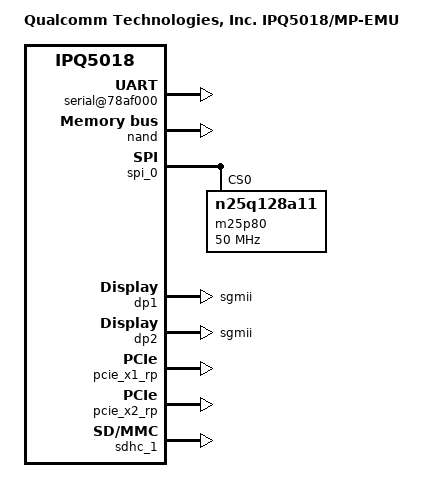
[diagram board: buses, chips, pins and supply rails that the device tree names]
/dts-v1/;
/* Copyright (c) 2018-2020, The Linux Foundation. All rights reserved.
 *
 * Permission to use, copy, modify, and/or distribute this software for any
 * purpose with or without fee is hereby granted, provided that the above
 * copyright notice and this permission notice appear in all copies.
 *
 * THE SOFTWARE IS PROVIDED "AS IS" AND THE AUTHOR DISCLAIMS ALL WARRANTIES
 * WITH REGARD TO THIS SOFTWARE INCLUDING ALL IMPLIED WARRANTIES OF
 * MERCHANTABILITY AND FITNESS. IN NO EVENT SHALL THE AUTHOR BE LIABLE FOR
 * ANY SPECIAL, DIRECT, INDIRECT, OR CONSEQUENTIAL DAMAGES OR ANY DAMAGES
 * WHATSOEVER RESULTING FROM LOSS OF USE, DATA OR PROFITS, WHETHER IN AN
 * ACTION OF CONTRACT, NEGLIGENCE OR OTHER TORTIOUS ACTION, ARISING OUT OF
 * OR IN CONNECTION WITH THE USE OR PERFORMANCE OF THIS SOFTWARE.
 */

#include "qcom-ipq5018.dtsi"

/ {
	#address-cells = <0x2>;
	#size-cells = <0x2>;
	model = "Qualcomm Technologies, Inc. IPQ5018/MP-EMU";
	compatible = "qcom,ipq5018-emulation-c2", "qcom,ipq5018";
	interrupt-parent = <&intc>;

	aliases {
		sdhc1 = &sdhc_1; /* SDC1 eMMC slot */
		serial0 = &blsp1_uart1;
	};

	chosen {
		linux,initrd-end = <0x56000000>;
		linux,initrd-start = <0x54000000>;
		bootargs = "root=/dev/ram0 rw init=/init";
		stdout-path = "serial0";
	};

	soc {
		gcc: gcc@1800000 {
			gcc-use-dummy;
		};

		serial@78af000 {
			status = "ok";
		};

		timer {
			clock-frequency = <240000>;
		};

		qpic_bam: dma@7984000{
			status = "ok";
		};

		nand: qpic-nand@79b0000 {
			status = "ok";
		};

		spi_0: spi@78b5000 { /* BLSP1 QUP0 */
			status = "ok";

			m25p80@0 {
				#address-cells = <1>;
				#size-cells = <1>;
				reg = <0>;
				compatible = "n25q128a11";
				linux,modalias = "m25p80", "n25q128a11";
				spi-max-frequency = <50000000>;
				use-default-sizes;
			};
		};

		ess-instance {
			num_devices = <0x1>;
			ess-switch@0x39c00000 {
				qcom,emulation;
				switch_mac_mode = <0xf>; /* mac mode for uniphy instance*/
				qcom,port_phyinfo {
					port@0 {
						port_id = <1>;
						phy_address = <7>;
		                                forced-speed = <1000>;
                                                forced-duplex = <1>;
					};
					port@1 {
						port_id = <2>;
						phy_address = <1>;
						forced-speed = <1000>;
                                                forced-duplex = <1>;
					};
				};
			};
		};

		wifi0: wifi@c000000 {
			status = "disabled";
		};

		pcie_x1: pci@80000000 {
			is_emulation = <1>;
		};

		pcie_x2: pci@a0000000 {
			is_emulation = <1>;
		};

		nss0: nss@40000000 {
			qcom,low-frequency = <10000000>;
			qcom,mid-frequency = <10000000>;
			qcom,max-frequency = <10000000>;
		};

		dp1 {
			device_type = "network";
			compatible = "qcom,nss-dp";
			qcom,id = <1>;
			reg = <0x39C00000 0x10000>;
			interrupts = <GIC_SPI 101 IRQ_TYPE_LEVEL_HIGH>;
			qcom,mactype = <2>;
			local-mac-address = [000000000000];
			phy-mode = "sgmii";
		};

		dp2 {
			device_type = "network";
			compatible = "qcom,nss-dp";
			qcom,id = <2>;
			reg = <0x39D00000 0x10000>;
			interrupts = <GIC_SPI 109 IRQ_TYPE_LEVEL_HIGH>;
			qcom,mactype = <2>;
			local-mac-address = [000000000000];
			phy-mode = "sgmii";
		};

		qcom,test@0 {
			status = "ok";
		};

		pcie_x1_rp {
		        status = "ok";

			mhi_0: qcom,mhi@0 {
				reg = <0 0 0 0 0 >;
				qrtr_instance_id = <0x8001>;
			};
		};

		pcie_x2_rp {
		        status = "ok";

			mhi_1: qcom,mhi@1 {
				reg = <0 0 0 0 0 >;
				qrtr_instance_id = <0x8002>;
			};
		};
	};
};

&sdhc_1 {
	qcom,clk-rates = <400000 25000000 50000000 100000000 \
			 192000000 384000000>;
	qcom,bus-speed-mode = "DDR_1p8v";
	qcom,nonremovable;
	qcom,emulation = <1>;
	status = "ok";
};

&tlmm {
	pinctrl-0 = <&uart_pins>, <&pcie_x1_pins>, <&pcie_x2_pins>;
	pinctrl-names = "default";

	uart_pins: uart_pins {
		mux_0 {
			pins = "gpio20", "gpio21";
			function = "blsp0_uart0";
			bias-pull-down;
		};
		mux_1 {
			pins = "gpio10";
			function = "blsp1_uart0";
			bias-pull-down;
                };
		mux_2 {
			pins = "gpio11", "gpio12";
			function = "blsp1_uart0";
			bias-pull-down;
                };
		mux_3 {
			pins = "gpio13";
			function = "blsp1_uart0";
			bias-pull-down;
		};
	};

	pcie_x1_pins: pcie_x1_pins {
		mux_0 {
			pins = "gpio14";
			function = "gpio";
			output-low;
			bias-pull-down;
			drive-strength = <2>;
		};

		mux_1 {
			pins = "gpio15";
			function = "gpio";
			output-low;
			bias-pull-down;
			drive-strength = <2>;
		};

		mux_2 {
			pins = "gpio16";
			function = "gpio";
			input;
		};
	};

	pcie_x2_pins: pcie_x2_pins {
		mux_0 {
			pins = "gpio17";
			function = "gpio";
			output-low;
			bias-pull-down;
			drive-strength = <2>;
		};

		mux_1 {
			pins = "gpio18";
			function = "gpio";
			output-low;
			bias-pull-down;
			drive-strength = <2>;
		};

		mux_2 {
			pins = "gpio19";
			function = "gpio";
			input;
		};
	};
};

&tmc_etr {
	memory_region = <>;
	status = "disabled";
};

&dwc_0 {
	/delete-property/ snps,quirk-ref-clock-adjustment;
	snps,quirk-ref-clock-period = <0x32>;
	qcom,emulation = <1>;
};
